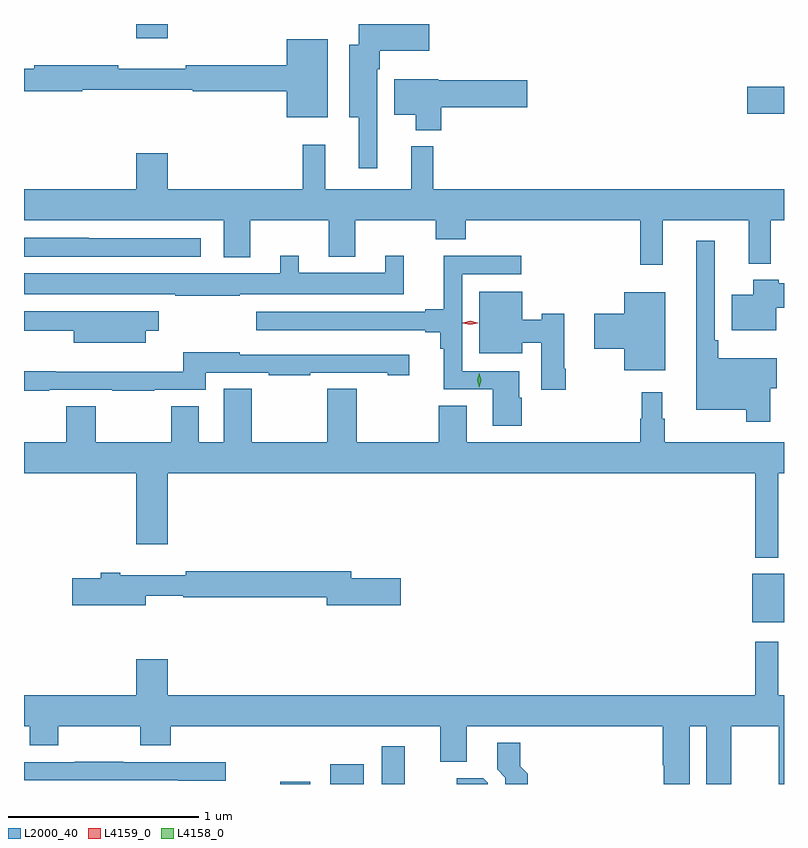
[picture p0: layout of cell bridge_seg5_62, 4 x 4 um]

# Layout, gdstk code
import gdstk
lib = gdstk.Library(unit=1e-6, precision=1e-09)
def R(c, l, rs):  # rectangles x0, y0, x1, y1
    for r in rs: c.add(gdstk.rectangle(r[:2], r[2:], *l))
def P(c, l, *ps):  # polygons
    for p in ps: c.add(gdstk.Polygon(p, *l))
L2000_40 = (2000, 40)
L4158_0 = (4158, 0)
L4159_0 = (4159, 0)

bridge_seg5_62 = lib.new_cell('bridge_seg5_62')
R(bridge_seg5_62, L2000_40, [(345.584,837.809,345.742,837.82), (345.848,837.809,346.024,837.913), (346.118,837.809,346.24,838.009), (348.068,838.661,348.236,838.915), (348.042,841.336,348.236,841.478), (344.828,841.734,344.992,841.809)])
P(bridge_seg5_62, L2000_40, [(346.095,841.571),(346.108,841.571),(346.108,841.667),(346.368,841.667),(346.368,841.809),(345.999,841.809),(345.999,841.699),(345.947,841.699),(345.947,841.319),(345.998,841.319),(345.998,841.05),(346.095,841.05)],
  [(345.835,841.729),(345.62,841.729),(345.62,841.592),(345.088,841.592),(345.088,841.573),(344.732,841.573),(344.732,841.592),(344.29,841.592),(344.29,841.573),(344.236,841.573),(344.236,841.456),(344.543,841.456),(344.543,841.464),(345.124,841.464),(345.124,841.456),(345.62,841.456),(345.62,841.319),(345.835,841.319)],
  [(346.433,841.372),(346.885,841.372),(346.885,841.514),(346.416,841.514),(346.416,841.519),(346.184,841.519),(346.184,841.331),(346.298,841.331),(346.298,841.25),(346.433,841.25)],
  [(346.391,841.165),(346.274,841.165),(346.274,840.94),(345.821,840.94),(345.821,841.174),(345.703,841.174),(345.703,840.94),(344.992,840.94),(344.992,841.129),(344.828,841.129),(344.828,840.94),(344.236,840.94),(344.236,840.776),(345.287,840.776),(345.287,840.582),(345.427,840.582),(345.427,840.776),(345.839,840.776),(345.839,840.584),(345.979,840.584),(345.979,840.776),(346.402,840.776),(346.402,840.677),(346.562,840.677),(346.562,840.776),(347.479,840.776),(347.479,840.543),(347.597,840.543),(347.597,840.776),(348.05,840.776),(348.05,840.548),(348.167,840.548),(348.167,840.776),(348.236,840.776),(348.236,840.94),(346.391,840.94)],
  [(344.477,840.585),(345.166,840.585),(345.166,840.681),(344.577,840.681),(344.577,840.685),(344.236,840.685),(344.236,840.584),(344.477,840.584)],
  [(348.164,839.891),(348.199,839.891),(348.199,840.049),(347.891,840.049),(347.891,840.145),(347.871,840.145),(347.871,840.667),(347.774,840.667),(347.774,839.78),(348.036,839.78),(348.036,839.715),(348.164,839.715)],
  [(345.371,840.386),(346.235,840.386),(346.235,840.589),(346.136,840.589),(346.136,840.499),(345.682,840.499),(345.682,840.589),(345.584,840.589),(345.584,840.496),(344.236,840.496),(344.236,840.386),(345.031,840.386),(345.031,840.379),(345.371,840.379)],
  [(346.856,839.843),(346.843,839.843),(346.843,839.982),(346.542,839.982),(346.542,840.492),(346.852,840.492),(346.852,840.588),(346.445,840.588),(346.445,840.307),(346.349,840.307),(346.349,840.294),(345.459,840.294),(345.459,840.198),(346.349,840.198),(346.349,840.186),(346.426,840.186),(346.426,840.101),(346.445,840.101),(346.445,839.886),(346.703,839.886),(346.703,839.694),(346.856,839.694)],
  [(348.196,840.316),(348.236,840.316),(348.236,840.445),(348.209,840.445),(348.209,840.463),(348.074,840.463),(348.074,840.385),(347.96,840.385),(347.96,840.197),(348.196,840.197)],
  [(347.088,839.995),(347.08,839.995),(347.08,840.284),(346.962,840.284),(346.962,840.253),(346.858,840.253),(346.858,840.4),(346.631,840.4),(346.631,840.077),(346.858,840.077),(346.858,840.131),(346.958,840.131),(346.958,839.883),(347.088,839.883)],
  [(347.611,840.397),(347.396,840.397),(347.396,840.284),(347.238,840.284),(347.238,840.101),(347.396,840.101),(347.396,839.987),(347.611,839.987)],
  [(344.878,840.194),(344.944,840.194),(344.944,840.298),(344.236,840.298),(344.236,840.194),(344.498,840.194),(344.498,840.131),(344.878,840.131)],
  [(344.369,839.883),(344.701,839.883),(344.701,839.878),(344.921,839.878),(344.921,839.883),(345.193,839.883),(345.193,839.973),(345.523,839.973),(345.523,839.961),(345.743,839.961),(345.743,839.973),(346.151,839.973),(346.151,839.961),(346.264,839.961),(346.264,840.069),(345.371,840.069),(345.371,840.082),(345.075,840.082),(345.075,839.98),(344.402,839.98),(344.402,839.981),(344.236,839.981),(344.236,839.878),(344.369,839.878)],
  [(348.205,839.444),(348.236,839.444),(348.236,839.608),(347.608,839.608),(347.608,839.732),(347.596,839.732),(347.596,839.872),(347.487,839.872),(347.487,839.732),(347.479,839.732),(347.479,839.608),(346.567,839.608),(346.567,839.801),(346.42,839.801),(346.42,839.608),(345.987,839.608),(345.987,839.888),(345.832,839.888),(345.832,839.608),(345.435,839.608),(345.435,839.888),(345.287,839.888),(345.287,839.608),(345.157,839.608),(345.157,839.798),(345.01,839.798),(345.01,839.608),(344.613,839.608),(344.613,839.798),(344.458,839.798),(344.458,839.608),(344.236,839.608),(344.236,839.444),(344.828,839.444),(344.828,839.07),(344.992,839.07),(344.992,839.444),(348.084,839.444),(348.084,839),(348.205,839)],
  [(344.878,838.8),(345.074,838.8),(345.074,838.792),(345.83,838.792),(345.83,838.75),(346.219,838.75),(346.219,838.892),(345.958,838.892),(345.958,838.928),(345.088,838.928),(345.088,838.909),(344.743,838.909),(344.743,838.922),(344.639,838.922),(344.639,838.892),(344.49,838.892),(344.49,838.75),(344.878,838.75)],
  [(344.828,838.276),(344.236,838.276),(344.236,838.112),(344.267,838.112),(344.267,838.013),(344.415,838.013),(344.415,838.112),(344.848,838.112),(344.848,838.013),(345.008,838.013),(345.008,838.112),(346.427,838.112),(346.427,837.925),(346.567,837.925),(346.567,838.112),(347.597,838.112),(347.597,837.907),(347.603,837.907),(347.603,837.809),(347.74,837.809),(347.74,838.112),(347.828,838.112),(347.828,837.809),(347.959,837.809),(347.959,838.112),(348.209,838.112),(348.209,837.809),(348.236,837.809),(348.236,838.276),(348.205,838.276),(348.205,838.558),(348.084,838.558),(348.084,838.276),(344.992,838.276),(344.992,838.465),(344.828,838.465)],
  [(346.886,837.864),(346.847,837.903),(346.847,838.027),(346.727,838.027),(346.727,837.886),(346.77,837.843),(346.77,837.809),(346.886,837.809)],
  [(345.298,837.924),(344.759,837.924),(344.759,837.926),(344.503,837.926),(344.503,837.924),(344.236,837.924),(344.236,837.828),(345.049,837.828),(345.049,837.827),(345.298,837.827)],
  [(346.677,837.816),(346.653,837.84),(346.514,837.84),(346.514,837.809),(346.677,837.809)])
P(bridge_seg5_62, L4158_0, [(346.632,839.898),(346.632,839.898),(346.622,839.934),(346.632,839.97),(346.632,839.97),(346.632,839.97),(346.642,839.934),(346.632,839.898)])
P(bridge_seg5_62, L4159_0, [(346.584,840.226),(346.544,840.235),(346.544,840.236),(346.544,840.236),(346.584,840.246),(346.625,840.236),(346.625,840.236),(346.625,840.235)])

lib.write_gds('bridge_seg5_62.gds')
